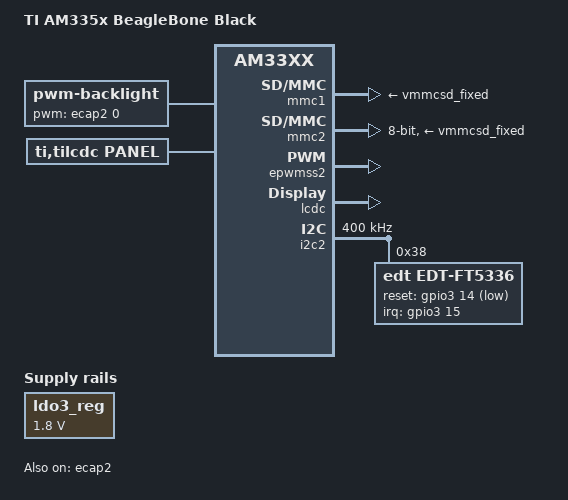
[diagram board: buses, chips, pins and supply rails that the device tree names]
/*
 * Copyright (C) 2012 Texas Instruments Incorporated - http://www.ti.com/
 *
 * This program is free software; you can redistribute it and/or modify
 * it under the terms of the GNU General Public License version 2 as
 * published by the Free Software Foundation.
 */
/dts-v1/;

#include "am33xx.dtsi"
#include "am335x-bone-common.dtsi"
/* #include "am33xx-overlay-edma-fix.dtsi" */
#include <dt-bindings/board/am335x-bbw-bbb-base.h>
#include <dt-bindings/gpio/gpio.h>
#include <dt-bindings/pinctrl/am33xx.h>

/* pruss: pick one: */

/*
 * /etc/modprobe.d/pruss-blacklist.conf
 *
 * blacklist uio_pruss
 */

#include "am33xx-pruss-rproc.dtsi"

/*
 * /etc/modprobe.d/pruss-blacklist.conf
 *
 * blacklist pruss
 * blacklist pruss_intc
 * blacklist pru-rproc
 */

/* #include "am33xx-pruss-uio.dtsi" */

/ {
	model = "TI AM335x BeagleBone Black";
	compatible = "ti,am335x-bone-black", "ti,am335x-bone", "ti,am33xx";
};

&ldo3_reg {
	regulator-min-microvolt = <1800000>;
	regulator-max-microvolt = <1800000>;
	regulator-always-on;
};

&mmc1 {
	vmmc-supply = <&vmmcsd_fixed>;
};

&mmc2 {
	vmmc-supply = <&vmmcsd_fixed>;
	pinctrl-names = "default";
	pinctrl-0 = <&emmc_pins>;
	bus-width = <8>;
	status = "okay";
};

&cpu0_opp_table {
	/*
	 * All PG 2.0 silicon may not support 1GHz but some of the early
	 * BeagleBone Blacks have PG 2.0 silicon which is guaranteed
	 * to support 1GHz OPP so enable it for PG 2.0 on this board.
	 */
	oppnitro@1000000000 {
		opp-supported-hw = <0x06 0x0100>;
	};
};

&am33xx_pinmux {
	bb_lcd_pwm_backlight_pins: pinmux_bb_lcd_pwm_backlight_pins {
		pinctrl-single,pins = <
			BONE_P9_28 (PIN_OUTPUT_PULLDOWN | MUX_MODE4) /* mcasp0_ahclkr.eCAP2_in_PWM2_out */
		>;
	};

	bb_lcd_lcd_pins: pinmux_bb_lcd_lcd_pins {
		pinctrl-single,pins = <
			BONE_P8_45 (PIN_OUTPUT | MUX_MODE0) /* lcd_data0.lcd_data0 */
			BONE_P8_46 (PIN_OUTPUT | MUX_MODE0) /* lcd_data1.lcd_data1 */
			BONE_P8_43 (PIN_OUTPUT | MUX_MODE0) /* lcd_data2.lcd_data2 */
			BONE_P8_44 (PIN_OUTPUT | MUX_MODE0) /* lcd_data3.lcd_data3 */
			BONE_P8_41 (PIN_OUTPUT | MUX_MODE0) /* lcd_data4.lcd_data4 */
			BONE_P8_42 (PIN_OUTPUT | MUX_MODE0) /* lcd_data5.lcd_data5 */
			BONE_P8_39 (PIN_OUTPUT | MUX_MODE0) /* lcd_data6.lcd_data6 */
			BONE_P8_40 (PIN_OUTPUT | MUX_MODE0) /* lcd_data7.lcd_data7 */
			BONE_P8_37 (PIN_OUTPUT | MUX_MODE0) /* lcd_data8.lcd_data8 */
			BONE_P8_38 (PIN_OUTPUT | MUX_MODE0) /* lcd_data9.lcd_data9 */
			BONE_P8_36 (PIN_OUTPUT | MUX_MODE0) /* lcd_data10.lcd_data10 */
			BONE_P8_34 (PIN_OUTPUT | MUX_MODE0) /* lcd_data11.lcd_data11 */
			BONE_P8_35 (PIN_OUTPUT | MUX_MODE0) /* lcd_data12.lcd_data12 */
			BONE_P8_33 (PIN_OUTPUT | MUX_MODE0) /* lcd_data13.lcd_data13 */
			BONE_P8_31 (PIN_OUTPUT | MUX_MODE0) /* lcd_data14.lcd_data14 */
			BONE_P8_32 (PIN_OUTPUT | MUX_MODE0) /* lcd_data15.lcd_data15 */

			BONE_P8_27 (PIN_OUTPUT | MUX_MODE0) /* lcd_vsync.lcd_vsync */
			BONE_P8_29 (PIN_OUTPUT | MUX_MODE0) /* lcd_hsync.lcd_hsync */
			BONE_P8_28 (PIN_OUTPUT | MUX_MODE0) /* lcd_pclk.lcd_pclk */
			BONE_P8_30 (PIN_OUTPUT | MUX_MODE0) /* lcd_ac_bias_en.lcd_ac_bias_en */
		>;
	};

	bb_i2c2_pins: pinmux_bb_i2c2_pins {
		pinctrl-single,pins = <
			BONE_P9_19 0x73	/* i2c2_sda, SLEWCTRL_SLOW | INPUT_PULLUP | MODE3 */
			BONE_P9_20 0x73	/* i2c2_scl, SLEWCTRL_SLOW | INPUT_PULLUP | MODE3 */
		>;
	};

	edt_ft5336_ts_pins: pinmux_edt_ft5336_ts_pins {
		pinctrl-single,pins = <
			BONE_P9_29 (PIN_INPUT_PULLDOWN | MUX_MODE7) /* mcasp0_fsx.gpio3_15 */
			BONE_P9_31 (PIN_INPUT_PULLDOWN | MUX_MODE7) /* mcasp0_aclkx.gpio3_14 */
		>;
	};
};

&epwmss2 {
	status = "okay";
};

&ecap2 {
	pinctrl-names = "default";
	pinctrl-0 = <&bb_lcd_pwm_backlight_pins>;
	status = "okay";
};

&lcdc {
	status = "okay";
};

&i2c2 {
	status = "okay";
	pinctrl-names = "default";
	pinctrl-0 = <&bb_i2c2_pins>;
	clock-frequency = <400000>;

	edt-ft5336@38 {
		status = "okay";
		compatible = "edt,edt-ft5336", "edt,edt-ft5306", "edt,edt-ft5x06";
		pinctrl-names = "default";
		pinctrl-0 = <&edt_ft5336_ts_pins>;

		reg = <0x38>;
		interrupt-parent = <&gpio3>;
		interrupts = <15 0>;
		reset-gpios = <&gpio3 14 GPIO_ACTIVE_LOW>;

//		touchscreen-size-x = <480>;
//		touchscreen-size-y = <272>;
//		touchscreen-swapped-x-y;
	};
};

/ {
	backlight {
		status = "okay";
		compatible = "pwm-backlight";
		pwms = <&ecap2 0 500000 0>;
		brightness-levels = <
			0  1  2  3  4  5  6  7  8  9
			10 11 12 13 14 15 16 17 18 19
			20 21 22 23 24 25 26 27 28 29
			30 31 32 33 34 35 36 37 38 39
			40 41 42 43 44 45 46 47 48 49
			50 51 52 53 54 55 56 57 58 59
			60 61 62 63 64 65 66 67 68 69
			70 71 72 73 74 75 76 77 78 79
			80 81 82 83 84 85 86 87 88 89
			90 91 92 93 94 95 96 97 98 99
			100
		>;
		default-brightness-level = <50>;
	};

	panel {
		status = "okay";
		compatible = "ti,tilcdc,panel";
		pinctrl-names = "default";
		pinctrl-0 = <&bb_lcd_lcd_pins>;
		panel-info {
			ac-bias           = <255>;
			ac-bias-intrpt    = <0>;
			dma-burst-sz      = <16>;
			bpp               = <16>;
			fdd               = <0x80>;
			tft-alt-mode      = <0>;
			stn-565-mode      = <0>;
			mono-8bit-mode    = <0>;
			sync-edge         = <0>;
			sync-ctrl         = <1>;
			raster-order      = <0>;
			fifo-th           = <0>;
		};
		/* ILI6480 */
		display-timings {
			native-mode = <&timing0>;
			timing0: 480x272 {
				clock-frequency = <9000000>;
				hactive = <480>;
				vactive = <272>;
				hfront-porch = <5>;
				hback-porch = <40>;
				hsync-len = <1>;
				vback-porch = <8>;
				vfront-porch = <8>;
				vsync-len = <1>;
				hsync-active = <0>;
				vsync-active  = <0>;
			};
		};
	};
};
